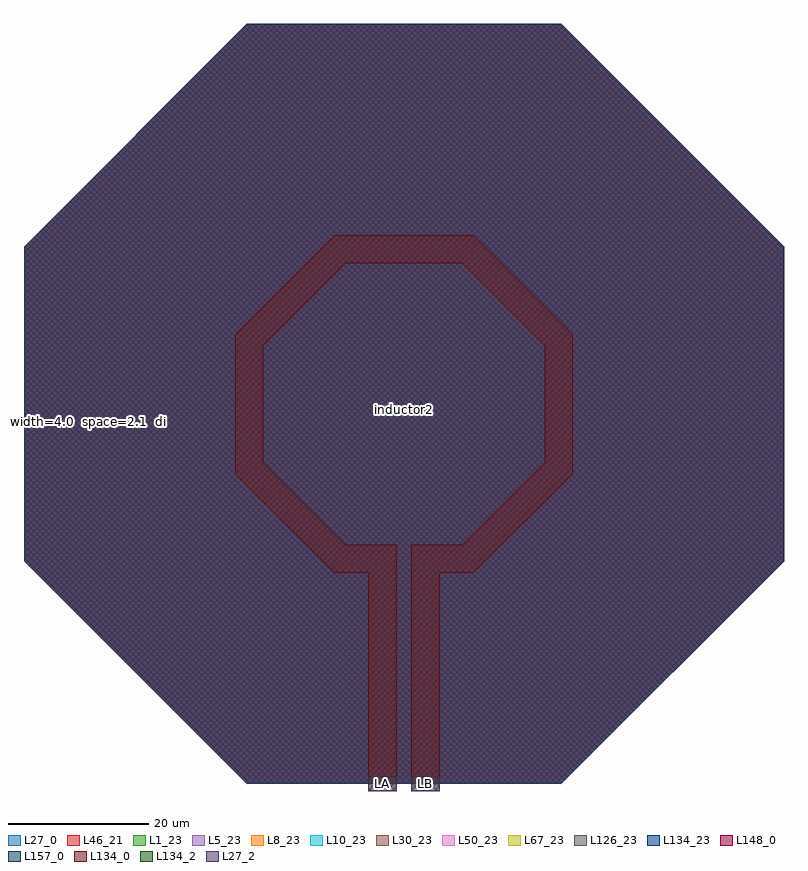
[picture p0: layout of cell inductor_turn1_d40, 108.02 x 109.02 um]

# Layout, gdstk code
import gdstk
lib = gdstk.Library(unit=1e-6, precision=1e-09)
def R(c, l, rs):  # rectangles x0, y0, x1, y1
    for r in rs: c.add(gdstk.rectangle(r[:2], r[2:], *l))
def P(c, l, *ps):  # polygons
    for p in ps: c.add(gdstk.Polygon(p, *l))
L1_23 = (1, 23)
L5_23 = (5, 23)
L8_23 = (8, 23)
L10_23 = (10, 23)
L27_0 = (27, 0)
L27_2 = (27, 2)
L30_23 = (30, 23)
L46_21 = (46, 21)
L50_23 = (50, 23)
L67_23 = (67, 23)
L126_23 = (126, 23)
L134_0 = (134, 0)
L134_2 = (134, 2)
L134_23 = (134, 23)
L148_0 = (148, 0)
L157_0 = (157, 0)

inductor_turn1_d40 = lib.new_cell('inductor_turn1_d40')
P(inductor_turn1_d40, L1_23, [(-22.37,0),(-54.01,31.64),(-54.01,76.38),(-22.37,108.02),(22.37,108.02),(54.01,76.38),(54.01,31.64),(22.37,0)])
P(inductor_turn1_d40, L5_23, [(-22.37,0),(-54.01,31.64),(-54.01,76.38),(-22.37,108.02),(22.37,108.02),(54.01,76.38),(54.01,31.64),(22.37,0)])
P(inductor_turn1_d40, L8_23, [(-22.37,0),(-54.01,31.64),(-54.01,76.38),(-22.37,108.02),(22.37,108.02),(54.01,76.38),(54.01,31.64),(22.37,0)])
P(inductor_turn1_d40, L10_23, [(-22.37,0),(-54.01,31.64),(-54.01,76.38),(-22.37,108.02),(22.37,108.02),(54.01,76.38),(54.01,31.64),(22.37,0)])
P(inductor_turn1_d40, L27_0, [(-22.37,0),(-54.01,31.64),(-54.01,76.38),(-22.37,108.02),(22.37,108.02),(54.01,76.38),(54.01,31.64),(22.37,0)])
R(inductor_turn1_d40, L27_2, [(-5.05,-1,-1.05,1), (1.05,-1,5.05,1)])
P(inductor_turn1_d40, L30_23, [(-22.37,0),(-54.01,31.64),(-54.01,76.38),(-22.37,108.02),(22.37,108.02),(54.01,76.38),(54.01,31.64),(22.37,0)])
P(inductor_turn1_d40, L46_21, [(-22.37,0),(-54.01,31.64),(-54.01,76.38),(-22.37,108.02),(22.37,108.02),(54.01,76.38),(54.01,31.64),(22.37,0)])
P(inductor_turn1_d40, L50_23, [(-22.37,0),(-54.01,31.64),(-54.01,76.38),(-22.37,108.02),(22.37,108.02),(54.01,76.38),(54.01,31.64),(22.37,0)])
P(inductor_turn1_d40, L67_23, [(-22.37,0),(-54.01,31.64),(-54.01,76.38),(-22.37,108.02),(22.37,108.02),(54.01,76.38),(54.01,31.64),(22.37,0)])
P(inductor_turn1_d40, L126_23, [(-22.37,0),(-54.01,31.64),(-54.01,76.38),(-22.37,108.02),(22.37,108.02),(54.01,76.38),(54.01,31.64),(22.37,0)])
R(inductor_turn1_d40, L134_0, [(-4.765,74,4.765,78)])
P(inductor_turn1_d40, L134_0, [(1.05,30),(1.05,34),(8.28,34),(20,45.72),(20,62.28),(8.28,74),(4.765,74),(4.765,78),(9.945,78),(24,63.945),(24,44.055),(9.945,30)],
  [(-9.945,30),(-24,44.055),(-24,63.945),(-9.945,78),(-4.765,78),(-4.765,74),(-8.28,74),(-20,62.28),(-20,45.72),(-8.28,34),(-1.05,34),(-1.05,30)])
R(inductor_turn1_d40, L134_2, [(-5.05,-1,-1.05,1), (1.05,-1,5.05,1)])
P(inductor_turn1_d40, L134_23, [(-22.37,0),(-54.01,31.64),(-54.01,76.38),(-22.37,108.02),(22.37,108.02),(54.01,76.38),(54.01,31.64),(22.37,0)])
P(inductor_turn1_d40, L148_0, [(-22.37,0),(-54.01,31.64),(-54.01,76.38),(-22.37,108.02),(22.37,108.02),(54.01,76.38),(54.01,31.64),(22.37,0)])
P(inductor_turn1_d40, L157_0, [(-22.37,0),(-54.01,31.64),(-54.01,76.38),(-22.37,108.02),(22.37,108.02),(54.01,76.38),(54.01,31.64),(22.37,0)])
inductor_turn1_d40.add(gdstk.FlexPath([(3.05,-1),(3.05,34)], 4, ends="flush", simple_path=True, layer=134, datatype=0))  # L134_0
inductor_turn1_d40.add(gdstk.FlexPath([(-3.05,-1),(-3.05,34)], 4, ends="flush", simple_path=True, layer=134, datatype=0))  # L134_0
inductor_turn1_d40.add(gdstk.Label('inductor2', (0,53.177), layer=63, texttype=0))
inductor_turn1_d40.add(gdstk.Label('  width=4.0\n  space=2.1\n  diameter=40.00\n  turns=1', (-54.01,51.555), layer=63, texttype=0))
inductor_turn1_d40.add(gdstk.Label('LB', (3.05,0), layer=27, texttype=25))
inductor_turn1_d40.add(gdstk.Label('LA', (-3.05,0), layer=27, texttype=25))
inductor_turn1_d40.add(gdstk.Label('PLUS', (-3.05,0), layer=134, texttype=25))
inductor_turn1_d40.add(gdstk.Label('MINUS', (3.05,0), layer=134, texttype=25))

lib.write_gds('inductor_turn1_d40.gds')
